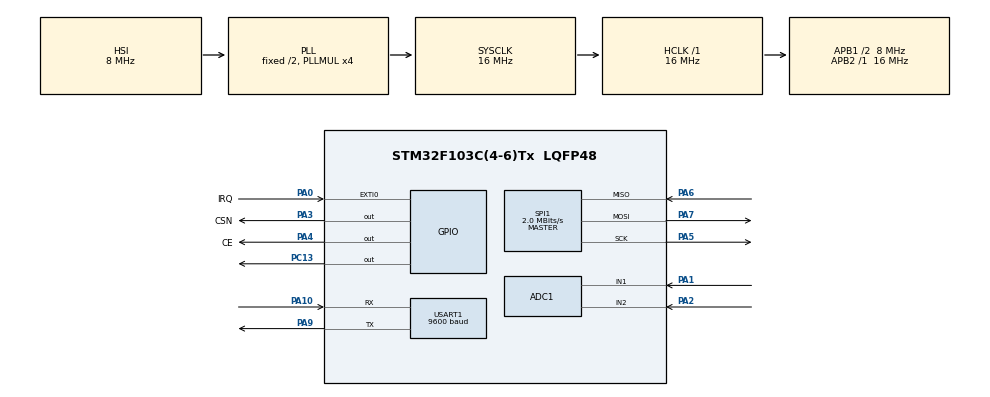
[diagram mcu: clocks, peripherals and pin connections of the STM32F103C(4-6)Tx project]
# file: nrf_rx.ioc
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ADC1.Channel-0\#ChannelRegularConversion=ADC_CHANNEL_1
ADC1.Channel-1\#ChannelRegularConversion=ADC_CHANNEL_2
ADC1.ContinuousConvMode=ENABLE
ADC1.NbrOfConversion=2
ADC1.NbrOfConversionFlag=1
ADC1.Rank-0\#ChannelRegularConversion=1
ADC1.Rank-1\#ChannelRegularConversion=2
ADC1.SamplingTime-0\#ChannelRegularConversion=ADC_SAMPLETIME_239CYCLES_5
ADC1.SamplingTime-1\#ChannelRegularConversion=ADC_SAMPLETIME_239CYCLES_5
ADC1.master=1
Dma.ADC1.0.Direction=DMA_PERIPH_TO_MEMORY
Dma.ADC1.0.Instance=DMA1_Channel1
Dma.ADC1.0.MemDataAlignment=DMA_MDATAALIGN_HALFWORD
Dma.ADC1.0.MemInc=DMA_MINC_ENABLE
Dma.ADC1.0.Mode=DMA_CIRCULAR
Dma.ADC1.0.PeriphDataAlignment=DMA_PDATAALIGN_HALFWORD
Dma.ADC1.0.PeriphInc=DMA_PINC_DISABLE
Dma.ADC1.0.Priority=DMA_PRIORITY_LOW
Dma.Request0=ADC1
Mcu.Family=STM32F1
Mcu.Name=STM32F103C(4-6)Tx
Mcu.Package=LQFP48
NVIC.DMA1_Channel1_IRQn=true\:0\:0\:false\:false\:true\:false\:true\:true
NVIC.EXTI0_IRQn=true\:0\:0\:false\:false\:true\:true\:true\:true
NVIC.PriorityGroup=NVIC_PRIORITYGROUP_4
NVIC.SPI1_IRQn=true\:0\:0\:false\:false\:true\:true\:true\:true
NVIC.USART1_IRQn=true\:0\:0\:false\:false\:true\:true\:true\:true
PA0-WKUP.GPIO_Label=IRQ
PA0-WKUP.GPIO_ModeDefaultEXTI=GPIO_MODE_IT_FALLING
PA0-WKUP.Signal=GPXTI0
PA1.Signal=ADCx_IN1
PA10.Mode=Asynchronous
PA10.Signal=USART1_RX
PA13.Mode=Serial_Wire
PA13.Signal=SYS_JTMS-SWDIO
PA14.Mode=Serial_Wire
PA14.Signal=SYS_JTCK-SWCLK
PA2.Signal=ADCx_IN2
PA3.GPIO_Label=CSN
PA3.GPIO_Speed=GPIO_SPEED_FREQ_HIGH
PA3.Signal=GPIO_Output
PA4.GPIO_Label=CE
PA4.GPIO_Speed=GPIO_SPEED_FREQ_HIGH
PA4.Signal=GPIO_Output
PA5.Mode=Full_Duplex_Master
PA5.Signal=SPI1_SCK
PA6.Mode=Full_Duplex_Master
PA6.Signal=SPI1_MISO
PA7.Mode=Full_Duplex_Master
PA7.Signal=SPI1_MOSI
PA9.Mode=Asynchronous
PA9.Signal=USART1_TX
PC13-TAMPER-RTC.Signal=GPIO_Output
ProjectManager.HeapSize=0x200
ProjectManager.StackSize=0x400
ProjectManager.TargetToolchain=STM32CubeIDE
RCC.ADCPresc=RCC_ADCPCLK2_DIV8
RCC.AHBFreq_Value=16000000
RCC.APB1CLKDivider=RCC_HCLK_DIV2
RCC.APB1Freq_Value=8000000
RCC.APB1TimFreq_Value=16000000
RCC.APB2Freq_Value=16000000
RCC.APB2TimFreq_Value=16000000
RCC.HCLKFreq_Value=16000000
RCC.PLLMUL=RCC_PLL_MUL4
RCC.SYSCLKFreq_VALUE=16000000
RCC.SYSCLKSource=RCC_SYSCLKSOURCE_PLLCLK
RCC.USBFreq_Value=16000000
SH.ADCx_IN1.0=ADC1_IN1,IN1
SH.ADCx_IN2.0=ADC1_IN2,IN2
SPI1.BaudRatePrescaler=SPI_BAUDRATEPRESCALER_8
SPI1.CalculateBaudRate=2.0 MBits/s
SPI1.Direction=SPI_DIRECTION_2LINES
SPI1.Mode=SPI_MODE_MASTER
SPI1.VirtualType=VM_MASTER
USART1.BaudRate=9600
USART1.VirtualMode=VM_ASYNC
board=custom

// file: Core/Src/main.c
/* USER CODE BEGIN Header */
/**
  ******************************************************************************
  * @file           : main.c
  * @brief          : Main program body
  ******************************************************************************
  * @attention
  *
  * Copyright (c) 2025 STMicroelectronics.
  * All rights reserved.
  *
  * This software is licensed under terms that can be found in the LICENSE file
  * in the root directory of this software component.
  * If no LICENSE file comes with this software, it is provided AS-IS.
  *
  ******************************************************************************
  */
/* USER CODE END Header */
#include "main.h"

/* USER CODE BEGIN Includes */
#include <string.h>// For string operations
#include "NRF24.h"// NRF24L01 library
#include "NRF24_reg_addreses.h"// NRF24 register addresses

#define PLD_SIZE 32 // Payload size (32 bytes)

#define rx// Device is in RX mode
/* USER CODE END Includes */

ADC_HandleTypeDef hadc1;
DMA_HandleTypeDef hdma_adc1;

SPI_HandleTypeDef hspi1;

UART_HandleTypeDef huart1;

/* USER CODE BEGIN PV */
uint8_t wid;// NRF payload width
/* USER CODE END PV */

void SystemClock_Config(void);
static void MX_GPIO_Init(void);
static void MX_DMA_Init(void);
static void MX_SPI1_Init(void);
static void MX_USART1_UART_Init(void);
static void MX_ADC1_Init(void);

/* USER CODE BEGIN 0 */
#ifdef tx
uint16_t lux=0;               // Variable to store light sensor value
uint16_t pot=0;               // Variable to store potentiometer value
uint16_t rawValues[2];        // Array to store ADC raw values for 2 channels
uint8_t data_T[PLD_SIZE]={0}; // Transmit buffer
uint8_t ack_T[PLD_SIZE]={0};  // Acknowledge buffer
#else
uint8_t data_R[PLD_SIZE]={0}; // Receive buffer
uint8_t ack_R[PLD_SIZE]={0};  // Acknowledge buffer
#endif

uint8_t convCompleted=0;// Flag indicating ADC conversion completion
// ADC conversion complete callback
void HAL_ADC_ConvCpltCallback(ADC_HandleTypeDef *hadc)//*****************
{
	convCompleted=1;// Set flag when conversion is done
}

/* USER CODE END 0 */

int main(void)
{

  /* MCU Configuration--------------------------------------------------------*/

  /* Reset of all peripherals, Initializes the Flash interface and the Systick. */
  HAL_Init();

  /* Configure the system clock */
  SystemClock_Config();

  /* Initialize all configured peripherals */
  MX_GPIO_Init();
  MX_DMA_Init();
  MX_SPI1_Init();
  MX_USART1_UART_Init();
  MX_ADC1_Init();
  /* USER CODE BEGIN 2 */
  csn_high();// Set CSN pin high
  nrf24_init();// Initialize NRF24
  nrf24_tx_pwr(_0dbm);// Set TX power to 0 dBm
  nrf24_data_rate(_1mbps);// Set data rate to 1 Mbps
  nrf24_set_channel(78);// Set RF channel to 78
  nrf24_set_crc(en_crc,_1byte); // Enable CRC, 1 byte
  nrf24_pipe_pld_size(0, PLD_SIZE);// Set pipe 0 payload size

  uint8_t addr[5]={0x10,0x21,0x32,0x43,0x54};// TX and RX address
  nrf24_open_tx_pipe(addr);// Open TX pipe
  nrf24_open_rx_pipe(0,addr);// Open RX pipe

#ifdef tx
  HAL_ADC_Start_DMA(&hadc1, (uint32_t *)rawValues, 2);//Start ADC in DMA mode
  nrf24_stop_listen();// Stop listening in TX mode
#else
  nrf24_listen();// Start listening in RX mode
#endif
  /* USER CODE END 2 */

  /* Infinite loop */
  while (1)
  {

    /* USER CODE BEGIN 3 */
	#ifdef tx
	  if (convCompleted) {// Execute when ADC conversion is complete
		  lux = (uint16_t) rawValues[0];// Read light sensor value
		  pot = (uint16_t) rawValues[1];// Read potentiometer value
		  //data_T= sprintf(str, "%d", lux)+sprintf(str, "%d", pot);
		  int len = snprintf((char*)data_T, PLD_SIZE, "%u,%u", lux, pot);
		  if (len < 0) len = 0;         // Error check
		  if (len > PLD_SIZE) len = PLD_SIZE; // Boundary check

		  nrf24_transmit(data_T, sizeof(data_T));// Transmit data
		  convCompleted = 0;// Reset conversion flag
		  HAL_GPIO_TogglePin(GPIOC, GPIO_PIN_13);// Toggle LED
		  HAL_Delay(1000);// Delay 1 sec
	  }
    #else
        if (nrf24_data_available()) {// Check if data available
            wid = nrf24_r_pld_wid();// Read payload width
            if (wid == 0 || wid > PLD_SIZE) {// Validate width
                wid = PLD_SIZE;
            }

            memset(data_R, 0, PLD_SIZE);// Clear data buffer
            nrf24_receive(data_R, wid); // Receive data

            for (int i = 0; i < wid; ++i) {// Send data characters over UART
                if (data_R[i] >= 32 && data_R[i] <= 126) {
                    HAL_UART_Transmit(&huart1, &data_R[i], 1, HAL_MAX_DELAY);
                }
            }

            // Add newline at the end
            char newline = '\n';
            HAL_UART_Transmit(&huart1, &newline, 1, HAL_MAX_DELAY);

            // Turn on LED if data is received
            HAL_GPIO_WritePin(GPIOC, GPIO_PIN_13, GPIO_PIN_RESET);

            memset(data_R, 0, PLD_SIZE); // Clear buffer again
        } else {
        	// Turn off LED if no data
            HAL_GPIO_WritePin(GPIOC, GPIO_PIN_13, GPIO_PIN_SET);
        }
    #endif
  }
  /* USER CODE END 3 */
}

void SystemClock_Config(void)
{
  RCC_OscInitTypeDef RCC_OscInitStruct = {0};
  RCC_ClkInitTypeDef RCC_ClkInitStruct = {0};
  RCC_PeriphCLKInitTypeDef PeriphClkInit = {0};

  /** Initializes the RCC Oscillators according to the specified parameters
  * in the RCC_OscInitTypeDef structure.
  */
  RCC_OscInitStruct.OscillatorType = RCC_OSCILLATORTYPE_HSI;
  RCC_OscInitStruct.HSIState = RCC_HSI_ON;
  RCC_OscInitStruct.HSICalibrationValue = RCC_HSICALIBRATION_DEFAULT;
  RCC_OscInitStruct.PLL.PLLState = RCC_PLL_ON;
  RCC_OscInitStruct.PLL.PLLSource = RCC_PLLSOURCE_HSI_DIV2;
  RCC_OscInitStruct.PLL.PLLMUL = RCC_PLL_MUL4;
  if (HAL_RCC_OscConfig(&RCC_OscInitStruct) != HAL_OK)
  {
    Error_Handler();
  }

  /** Initializes the CPU, AHB and APB buses clocks
  */
  RCC_ClkInitStruct.ClockType = RCC_CLOCKTYPE_HCLK|RCC_CLOCKTYPE_SYSCLK
                              |RCC_CLOCKTYPE_PCLK1|RCC_CLOCKTYPE_PCLK2;
  RCC_ClkInitStruct.SYSCLKSource = RCC_SYSCLKSOURCE_PLLCLK;
  RCC_ClkInitStruct.AHBCLKDivider = RCC_SYSCLK_DIV1;
  RCC_ClkInitStruct.APB1CLKDivider = RCC_HCLK_DIV2;
  RCC_ClkInitStruct.APB2CLKDivider = RCC_HCLK_DIV1;

  if (HAL_RCC_ClockConfig(&RCC_ClkInitStruct, FLASH_LATENCY_0) != HAL_OK)
  {
    Error_Handler();
  }
  PeriphClkInit.PeriphClockSelection = RCC_PERIPHCLK_ADC;
  PeriphClkInit.AdcClockSelection = RCC_ADCPCLK2_DIV8;
  if (HAL_RCCEx_PeriphCLKConfig(&PeriphClkInit) != HAL_OK)
  {
    Error_Handler();
  }
}

static void MX_ADC1_Init(void)
{

  ADC_ChannelConfTypeDef sConfig = {0};

  /** Common config
  */
  hadc1.Instance = ADC1;
  hadc1.Init.ScanConvMode = ADC_SCAN_ENABLE;
  hadc1.Init.ContinuousConvMode = ENABLE;
  hadc1.Init.DiscontinuousConvMode = DISABLE;
  hadc1.Init.ExternalTrigConv = ADC_SOFTWARE_START;
  hadc1.Init.DataAlign = ADC_DATAALIGN_RIGHT;
  hadc1.Init.NbrOfConversion = 2;
  if (HAL_ADC_Init(&hadc1) != HAL_OK)
  {
    Error_Handler();
  }

  /** Configure Regular Channel
  */
  sConfig.Channel = ADC_CHANNEL_1;
  sConfig.Rank = ADC_REGULAR_RANK_1;
  sConfig.SamplingTime = ADC_SAMPLETIME_239CYCLES_5;
  if (HAL_ADC_ConfigChannel(&hadc1, &sConfig) != HAL_OK)
  {
    Error_Handler();
  }

  /** Configure Regular Channel
  */
  sConfig.Channel = ADC_CHANNEL_2;
  sConfig.Rank = ADC_REGULAR_RANK_2;
  if (HAL_ADC_ConfigChannel(&hadc1, &sConfig) != HAL_OK)
  {
    Error_Handler();
  }

}

static void MX_SPI1_Init(void)
{

  /* SPI1 parameter configuration*/
  hspi1.Instance = SPI1;
  hspi1.Init.Mode = SPI_MODE_MASTER;
  hspi1.Init.Direction = SPI_DIRECTION_2LINES;
  hspi1.Init.DataSize = SPI_DATASIZE_8BIT;
  hspi1.Init.CLKPolarity = SPI_POLARITY_LOW;
  hspi1.Init.CLKPhase = SPI_PHASE_1EDGE;
  hspi1.Init.NSS = SPI_NSS_SOFT;
  hspi1.Init.BaudRatePrescaler = SPI_BAUDRATEPRESCALER_8;
  hspi1.Init.FirstBit = SPI_FIRSTBIT_MSB;
  hspi1.Init.TIMode = SPI_TIMODE_DISABLE;
  hspi1.Init.CRCCalculation = SPI_CRCCALCULATION_DISABLE;
  hspi1.Init.CRCPolynomial = 10;
  if (HAL_SPI_Init(&hspi1) != HAL_OK)
  {
    Error_Handler();
  }

}

static void MX_USART1_UART_Init(void)
{

  huart1.Instance = USART1;
  huart1.Init.BaudRate = 9600;
  huart1.Init.WordLength = UART_WORDLENGTH_8B;
  huart1.Init.StopBits = UART_STOPBITS_1;
  huart1.Init.Parity = UART_PARITY_NONE;
  huart1.Init.Mode = UART_MODE_TX_RX;
  huart1.Init.HwFlowCtl = UART_HWCONTROL_NONE;
  huart1.Init.OverSampling = UART_OVERSAMPLING_16;
  if (HAL_UART_Init(&huart1) != HAL_OK)
  {
    Error_Handler();
  }

}

static void MX_DMA_Init(void)
{

  /* DMA controller clock enable */
  __HAL_RCC_DMA1_CLK_ENABLE();

  /* DMA interrupt init */
  /* DMA1_Channel1_IRQn interrupt configuration */
  HAL_NVIC_SetPriority(DMA1_Channel1_IRQn, 0, 0);
  HAL_NVIC_EnableIRQ(DMA1_Channel1_IRQn);

}

static void MX_GPIO_Init(void)
{
  GPIO_InitTypeDef GPIO_InitStruct = {0};

  /* GPIO Ports Clock Enable */
  __HAL_RCC_GPIOC_CLK_ENABLE();
  __HAL_RCC_GPIOA_CLK_ENABLE();

  /*Configure GPIO pin Output Level */
  HAL_GPIO_WritePin(GPIOC, GPIO_PIN_13, GPIO_PIN_RESET);

  /*Configure GPIO pin Output Level */
  HAL_GPIO_WritePin(GPIOA, CSN_Pin|CE_Pin, GPIO_PIN_RESET);

  /*Configure GPIO pin : PC13 */
  GPIO_InitStruct.Pin = GPIO_PIN_13;
  GPIO_InitStruct.Mode = GPIO_MODE_OUTPUT_PP;
  GPIO_InitStruct.Pull = GPIO_NOPULL;
  GPIO_InitStruct.Speed = GPIO_SPEED_FREQ_LOW;
  HAL_GPIO_Init(GPIOC, &GPIO_InitStruct);

  /*Configure GPIO pin : IRQ_Pin */
  GPIO_InitStruct.Pin = IRQ_Pin;
  GPIO_InitStruct.Mode = GPIO_MODE_IT_FALLING;
  GPIO_InitStruct.Pull = GPIO_NOPULL;
  HAL_GPIO_Init(IRQ_GPIO_Port, &GPIO_InitStruct);

  /*Configure GPIO pins : CSN_Pin CE_Pin */
  GPIO_InitStruct.Pin = CSN_Pin|CE_Pin;
  GPIO_InitStruct.Mode = GPIO_MODE_OUTPUT_PP;
  GPIO_InitStruct.Pull = GPIO_NOPULL;
  GPIO_InitStruct.Speed = GPIO_SPEED_FREQ_HIGH;
  HAL_GPIO_Init(GPIOA, &GPIO_InitStruct);

  /* EXTI interrupt init*/
  HAL_NVIC_SetPriority(EXTI0_IRQn, 0, 0);
  HAL_NVIC_EnableIRQ(EXTI0_IRQn);

}

void Error_Handler(void)
{
  __disable_irq();
  while (1)
  {
  }
}
